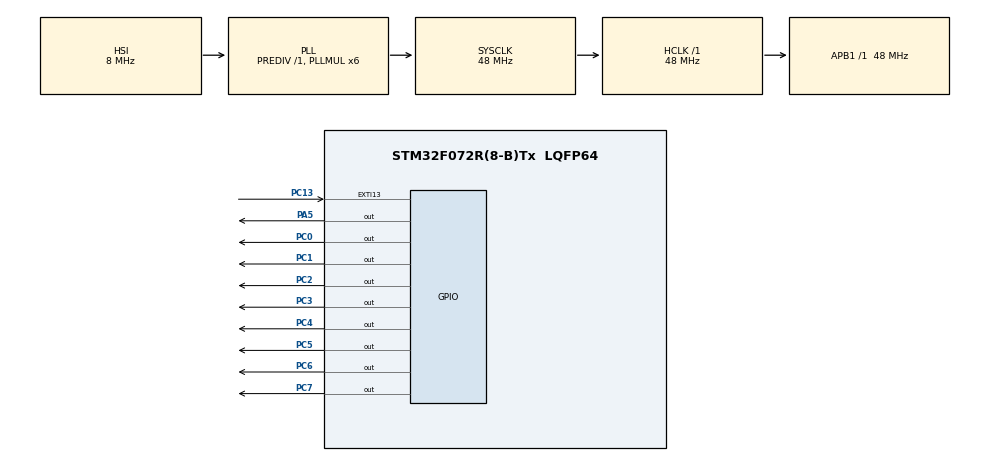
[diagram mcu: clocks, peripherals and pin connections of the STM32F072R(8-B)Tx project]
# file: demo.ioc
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Mcu.Family=STM32F0
Mcu.Name=STM32F072R(8-B)Tx
Mcu.Package=LQFP64
NVIC.EXTI4_15_IRQn=true\:0\:0\:false\:false\:true\:true
PA5.GPIO_Speed=GPIO_SPEED_FREQ_HIGH
PA5.Signal=GPIO_Output
PC0.GPIO_Speed=GPIO_SPEED_FREQ_HIGH
PC0.Signal=GPIO_Output
PC1.GPIO_Speed=GPIO_SPEED_FREQ_HIGH
PC1.Signal=GPIO_Output
PC13.Signal=GPXTI13
PC2.GPIO_Speed=GPIO_SPEED_FREQ_HIGH
PC2.Signal=GPIO_Output
PC3.GPIO_Speed=GPIO_SPEED_FREQ_HIGH
PC3.Signal=GPIO_Output
PC4.GPIO_Speed=GPIO_SPEED_FREQ_HIGH
PC4.Signal=GPIO_Output
PC5.GPIO_Speed=GPIO_SPEED_FREQ_HIGH
PC5.Signal=GPIO_Output
PC6.GPIO_Speed=GPIO_SPEED_FREQ_HIGH
PC6.Signal=GPIO_Output
PC7.GPIO_Speed=GPIO_SPEED_FREQ_HIGH
PC7.Signal=GPIO_Output
ProjectManager.HeapSize=0x200
ProjectManager.StackSize=0x400
ProjectManager.TargetToolchain=TrueSTUDIO
RCC.AHBFreq_Value=48000000
RCC.APB1Freq_Value=48000000
RCC.APB1TimFreq_Value=48000000
RCC.HCLKFreq_Value=48000000
RCC.PLLMUL=RCC_PLL_MUL6
RCC.SYSCLKFreq_VALUE=48000000
RCC.SYSCLKSource=RCC_SYSCLKSOURCE_PLLCLK
TIM6.Period=99
TIM6.Prescaler=47999
VP_TIM6_VS_ClockSourceINT.Mode=Enable_Timer
board=demo

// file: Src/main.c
/**
  ******************************************************************************
  * @file           : main.c
  * @brief          : Main program body
  ******************************************************************************
  ** This notice applies to any and all portions of this file
  * that are not between comment pairs USER CODE BEGIN and
  * USER CODE END. Other portions of this file, whether
  * inserted by the user or by software development tools
  * are owned by their respective copyright owners.
  *
  * COPYRIGHT(c) 2020 STMicroelectronics
  *
  * Redistribution and use in source and binary forms, with or without modification,
  * are permitted provided that the following conditions are met:
  *   1. Redistributions of source code must retain the above copyright notice,
  *      this list of conditions and the following disclaimer.
  *   2. Redistributions in binary form must reproduce the above copyright notice,
  *      this list of conditions and the following disclaimer in the documentation
  *      and/or other materials provided with the distribution.
  *   3. Neither the name of STMicroelectronics nor the names of its contributors
  *      may be used to endorse or promote products derived from this software
  *      without specific prior written permission.
  *
  * THIS SOFTWARE IS PROVIDED BY THE COPYRIGHT HOLDERS AND CONTRIBUTORS "AS IS"
  * AND ANY EXPRESS OR IMPLIED WARRANTIES, INCLUDING, BUT NOT LIMITED TO, THE
  * IMPLIED WARRANTIES OF MERCHANTABILITY AND FITNESS FOR A PARTICULAR PURPOSE ARE
  * DISCLAIMED. IN NO EVENT SHALL THE COPYRIGHT HOLDER OR CONTRIBUTORS BE LIABLE
  * FOR ANY DIRECT, INDIRECT, INCIDENTAL, SPECIAL, EXEMPLARY, OR CONSEQUENTIAL
  * DAMAGES (INCLUDING, BUT NOT LIMITED TO, PROCUREMENT OF SUBSTITUTE GOODS OR
  * SERVICES; LOSS OF USE, DATA, OR PROFITS; OR BUSINESS INTERRUPTION) HOWEVER
  * CAUSED AND ON ANY THEORY OF LIABILITY, WHETHER IN CONTRACT, STRICT LIABILITY,
  * OR TORT (INCLUDING NEGLIGENCE OR OTHERWISE) ARISING IN ANY WAY OUT OF THE USE
  * OF THIS SOFTWARE, EVEN IF ADVISED OF THE POSSIBILITY OF SUCH DAMAGE.
  *
  ******************************************************************************
  */
#include "main.h"
#include "stm32f0xx_hal.h"

TIM_HandleTypeDef htim6;

/* USER CODE BEGIN PV */
/* Private variables ---------------------------------------------------------*/

/* USER CODE END PV */

void SystemClock_Config(void);
static void MX_GPIO_Init(void);
static void MX_TIM6_Init(void);

/* USER CODE BEGIN PFP */
/* Private function prototypes -----------------------------------------------*/

/* USER CODE END PFP */

/* USER CODE BEGIN 0 */
void ResetPatte(GPIO_TypeDef *Port,unsigned int NumPatte);
void ResetPortA(GPIO_TypeDef *Port);
void ResetPortB(GPIO_TypeDef *Port);
void SetPatte(GPIO_TypeDef *Port,unsigned int NumPatte);
void SetPortA(GPIO_TypeDef *Port);
void SetPortB(GPIO_TypeDef *Port);
void ReadLetterPortA(GPIO_TypeDef *Port, unsigned char Lettre[]);
void ReadLetterPortB(GPIO_TypeDef *Port, unsigned char Lettre[]);
void fdelay(volatile unsigned int compteur);

volatile unsigned int flag = 0;
unsigned char lettre_A[6] = {0x80,0xF6,0xF6,0xF6,0x80,0xFF};
unsigned char lettre_B[6] = {0x80,0xB6,0xB6,0xB6,0xC1,0xFF};
unsigned char lettre_C[6] = {0xC1,0x41,0x41,0x41,0x41,0xFF};
unsigned char lettre_D[6] = {0x80,0x41,0x41,0x41,0x41,0xFF};
unsigned char lettre_E[6] = {0x80,0xB6,0xB6,0xB6,0xB7,0xFF};
unsigned char lettre_F[6] = {0x80,0xF6,0xF6,0xF6,0xFE,0xFF};
unsigned char lettre_G[6] = {0xC1,0xBE,0x41,0xB6,0xB6,0xFF};
unsigned char lettre_H[6] = {0x80,0xF7,0xF7,0xF7,0x80,0xFF};
unsigned char lettre_I[6] = {0xFF,0xBE,0x80,0xBE,0xFF,0xFF};
unsigned char lettre_J[6] = {0xDE,0xBE,0xBE,0xC0,0xFE,0xFF};
unsigned char lettre_K[6] = {0x80,0xF7,0xEB,0xDD,0x41,0xFF};
unsigned char lettre_L[6] = {0x80,0xBF,0xBF,0xBF,0xBF,0xFF};
unsigned char lettre_M[6] = {0x80,0xFD,0xF3,0xFD,0x80,0xFF};
unsigned char lettre_N[6] = {0x80,0xF9,0xF7,0xCF,0x80,0xFF};
unsigned char lettre_O[6] = {0xC1,0x41,0x41,0x41,0xC1,0xFF};
unsigned char lettre_P[6] = {0x80,0xF6,0xF6,0xF6,0xF9,0xFF};
unsigned char lettre_Q[6] = {0xC1,0x41,0xAE,0xC1,0xBF,0xFF};
unsigned char lettre_R[6] = {0x80,0xF6,0xE6,0xD6,0xB9,0xFF};
unsigned char lettre_S[6] = {0xB9,0xB6,0xB6,0xB6,0xCE,0xFF};
unsigned char lettre_T[6] = {0xFE,0xFE,0x80,0xFE,0xFE,0xFF};
unsigned char lettre_U[6] = {0xC0,0xBF,0xBF,0xBF,0xC0,0xFF};
unsigned char lettre_W[6] = {0xC0,0xBF,0xC7,0xBF,0xC0,0xFF};
unsigned char lettre_X[6] = {0x9C,0xEB,0xF7,0xEB,0xC9,0xFF};
unsigned char lettre_Y[6] = {0xF8,0xF7,0x8F,0xF7,0xF8,0xFF};
unsigned char lettre_Z[6] = {0x9E,0xAE,0xB6,0xBA,0xBC,0xFF};
/* USER CODE END 0 */

int main(void)
{

  /* MCU Configuration----------------------------------------------------------*/

  /* Reset of all peripherals, Initializes the Flash interface and the Systick. */
  HAL_Init();

  /* Configure the system clock */
  SystemClock_Config();

  /* Initialize all configured peripherals */
  MX_GPIO_Init();
  MX_TIM6_Init();

  /* Infinite loop */
  while (1)
  {

  /* USER CODE BEGIN 3 */

	  if (flag==1)
	  {
		  ReadLetterPortA(GPIOA, lettre_M);
		  ReadLetterPortA(GPIOA, lettre_A);
		  ReadLetterPortA(GPIOA, lettre_R);
		  flag=0;
	  }
  }
  /* USER CODE END 3 */

}

void SystemClock_Config(void)
{

  RCC_OscInitTypeDef RCC_OscInitStruct;
  RCC_ClkInitTypeDef RCC_ClkInitStruct;

    /**Initializes the CPU, AHB and APB busses clocks
    */
  RCC_OscInitStruct.OscillatorType = RCC_OSCILLATORTYPE_HSI;
  RCC_OscInitStruct.HSIState = RCC_HSI_ON;
  RCC_OscInitStruct.HSICalibrationValue = 16;
  RCC_OscInitStruct.PLL.PLLState = RCC_PLL_ON;
  RCC_OscInitStruct.PLL.PLLSource = RCC_PLLSOURCE_HSI;
  RCC_OscInitStruct.PLL.PLLMUL = RCC_PLL_MUL6;
  RCC_OscInitStruct.PLL.PREDIV = RCC_PREDIV_DIV1;
  if (HAL_RCC_OscConfig(&RCC_OscInitStruct) != HAL_OK)
  {
    _Error_Handler(__FILE__, __LINE__);
  }

    /**Initializes the CPU, AHB and APB busses clocks
    */
  RCC_ClkInitStruct.ClockType = RCC_CLOCKTYPE_HCLK|RCC_CLOCKTYPE_SYSCLK
                              |RCC_CLOCKTYPE_PCLK1;
  RCC_ClkInitStruct.SYSCLKSource = RCC_SYSCLKSOURCE_PLLCLK;
  RCC_ClkInitStruct.AHBCLKDivider = RCC_SYSCLK_DIV1;
  RCC_ClkInitStruct.APB1CLKDivider = RCC_HCLK_DIV1;

  if (HAL_RCC_ClockConfig(&RCC_ClkInitStruct, FLASH_LATENCY_1) != HAL_OK)
  {
    _Error_Handler(__FILE__, __LINE__);
  }

    /**Configure the Systick interrupt time
    */
  HAL_SYSTICK_Config(HAL_RCC_GetHCLKFreq()/1000);

    /**Configure the Systick
    */
  HAL_SYSTICK_CLKSourceConfig(SYSTICK_CLKSOURCE_HCLK);

  /* SysTick_IRQn interrupt configuration */
  HAL_NVIC_SetPriority(SysTick_IRQn, 0, 0);
}

/* TIM6 init function */
static void MX_TIM6_Init(void)
{

  TIM_MasterConfigTypeDef sMasterConfig;

  htim6.Instance = TIM6;
  htim6.Init.Prescaler = 47999;
  htim6.Init.CounterMode = TIM_COUNTERMODE_UP;
  htim6.Init.Period = 99;
  htim6.Init.AutoReloadPreload = TIM_AUTORELOAD_PRELOAD_DISABLE;
  if (HAL_TIM_Base_Init(&htim6) != HAL_OK)
  {
    _Error_Handler(__FILE__, __LINE__);
  }

  sMasterConfig.MasterOutputTrigger = TIM_TRGO_RESET;
  sMasterConfig.MasterSlaveMode = TIM_MASTERSLAVEMODE_DISABLE;
  if (HAL_TIMEx_MasterConfigSynchronization(&htim6, &sMasterConfig) != HAL_OK)
  {
    _Error_Handler(__FILE__, __LINE__);
  }

}

/** Configure pins as
        * Analog
        * Input
        * Output
        * EVENT_OUT
        * EXTI
*/
static void MX_GPIO_Init(void)
{

  GPIO_InitTypeDef GPIO_InitStruct;

  /* GPIO Ports Clock Enable */
  __HAL_RCC_GPIOC_CLK_ENABLE();
  __HAL_RCC_GPIOA_CLK_ENABLE();

  /*Configure GPIO pin Output Level */
  HAL_GPIO_WritePin(GPIOC, GPIO_PIN_0|GPIO_PIN_1|GPIO_PIN_2|GPIO_PIN_3
                          |GPIO_PIN_4|GPIO_PIN_5|GPIO_PIN_6|GPIO_PIN_7, GPIO_PIN_RESET);

  /*Configure GPIO pin Output Level */
  HAL_GPIO_WritePin(GPIOA, GPIO_PIN_5, GPIO_PIN_RESET);

  /*Configure GPIO pin : PC13 */
  GPIO_InitStruct.Pin = GPIO_PIN_13;
  GPIO_InitStruct.Mode = GPIO_MODE_IT_RISING;
  GPIO_InitStruct.Pull = GPIO_NOPULL;
  HAL_GPIO_Init(GPIOC, &GPIO_InitStruct);

  /*Configure GPIO pins : PC0 PC1 PC2 PC3
                           PC4 PC5 PC6 PC7 */
  GPIO_InitStruct.Pin = GPIO_PIN_0|GPIO_PIN_1|GPIO_PIN_2|GPIO_PIN_3
                          |GPIO_PIN_4|GPIO_PIN_5|GPIO_PIN_6|GPIO_PIN_7;
  GPIO_InitStruct.Mode = GPIO_MODE_OUTPUT_PP;
  GPIO_InitStruct.Pull = GPIO_NOPULL;
  GPIO_InitStruct.Speed = GPIO_SPEED_FREQ_HIGH;
  HAL_GPIO_Init(GPIOC, &GPIO_InitStruct);

  /*Configure GPIO pin : PA5 */
  GPIO_InitStruct.Pin = GPIO_PIN_5;
  GPIO_InitStruct.Mode = GPIO_MODE_OUTPUT_PP;
  GPIO_InitStruct.Pull = GPIO_NOPULL;
  GPIO_InitStruct.Speed = GPIO_SPEED_FREQ_HIGH;
  HAL_GPIO_Init(GPIOA, &GPIO_InitStruct);

  /* EXTI interrupt init*/
  HAL_NVIC_SetPriority(EXTI4_15_IRQn, 0, 0);
  HAL_NVIC_EnableIRQ(EXTI4_15_IRQn);

}

/* USER CODE BEGIN 4 */
void ResetPatte(GPIO_TypeDef *Port,unsigned int NumPatte){
	Port->ODR|=(1<<NumPatte);
}

void ResetPortA(GPIO_TypeDef *Port){
	Port->ODR |= (0x00FF);
}

void ResetPortB(GPIO_TypeDef *Port){
	Port->ODR |= (0xFF00);
}

void SetPatte(GPIO_TypeDef *Port,unsigned int NumPatte){
	Port->ODR&=~(1<<NumPatte);
}

void SetPortA(GPIO_TypeDef *Port){
Port->ODR &= (~(0x00FF));
}

void SetPortB(GPIO_TypeDef *Port){
Port->ODR &= (~(0xFF00));
}

void ReadLetterPortA(GPIO_TypeDef *Port, unsigned char Lettre[]){
	int i;
	for(i=0;i<6;i++){
		Port->ODR &= (~(Lettre[i]));
		fdelay(767);
		Port->ODR |= (0x00FF);
	}
}

void ReadLetterPortB(GPIO_TypeDef *Port, unsigned char Lettre[]){
	int i;
	for(i=0;i<6;i++){
		Port->ODR &= (~(Lettre[i]));
		fdelay(767);
		Port->ODR |= (0xFF00);
	}
}

void fdelay(volatile unsigned int compteur)
{
  unsigned int count = 0; //inialisation compteur
  for(count; count<compteur; count++)
  {
 //incrémentation
  }
  count=0; //remise à zéro

}

void HAL_GPIO_EXTI_Callback(uint16_t GPIO_Pin)
{
	 if(GPIO_Pin == GPIO_PIN_15)   // Si c'est la patte 15 (PA15) qui a demandé interruption
   {
    /* Code a executé */
    flag=1;
   }

}
/* USER CODE END 4 */

void _Error_Handler(char *file, int line)
{
  while(1)
  {
  }
}

/************************ (C) COPYRIGHT STMicroelectronics *****END OF FILE****/
